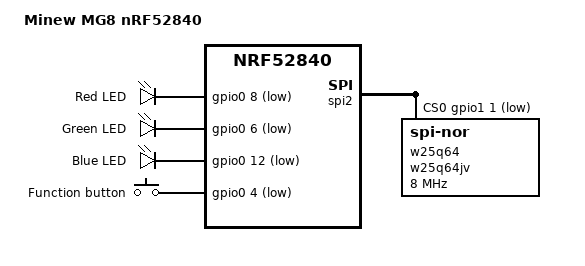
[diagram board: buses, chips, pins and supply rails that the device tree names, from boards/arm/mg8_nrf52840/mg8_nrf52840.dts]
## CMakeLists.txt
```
cmake_minimum_required(VERSION 3.20.0)

# The MG8 board definition lives in boards/arm/mg8_nrf52840
list(APPEND BOARD_ROOT ${CMAKE_CURRENT_SOURCE_DIR})

find_package(Zephyr REQUIRED HINTS $ENV{ZEPHYR_BASE})
project(mg8_bringup)

target_sources(app PRIVATE src/main.c src/flash_test.c src/ble_test.c)
```

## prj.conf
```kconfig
# MG8 bring-up. Board basics (RTT console, no UART console, 32 kHz crystal) are in
# boards/arm/mg8_nrf52840. The board never enables the DC/DC converters; src/main.c refuses to
# build if they are on.

CONFIG_PRINTK=y
CONFIG_SEGGER_RTT_BUFFER_SIZE_UP=8192
# AT console input from the J-Link (RTT channel 0 down buffer)
CONFIG_SEGGER_RTT_BUFFER_SIZE_DOWN=256

# The MG8 nRF52840 (AAD0) uses legacy APPROTECT: the erased UICR value keeps debug open.
# SystemInit only reads UICR here, it never writes it.
CONFIG_NRF_APPROTECT_USE_UICR=y

# Modem pins and UART are driven directly with the nrf_gpio HAL and registers
CONFIG_REBOOT=y
CONFIG_MAIN_STACK_SIZE=4096

# BLE test: advertise as MG8-bringup and passively scan for nearby devices
CONFIG_BT=y
CONFIG_BT_BROADCASTER=y
CONFIG_BT_OBSERVER=y
CONFIG_BT_DEVICE_NAME="MG8-bringup"

# W25Q64JV external flash on SPIM2
CONFIG_SPI=y
CONFIG_FLASH=y
CONFIG_SPI_NOR=y
CONFIG_SPI_NOR_SFDP_RUNTIME=y
CONFIG_FLASH_JESD216_API=y

# flash_get_page_count() for the flash test
CONFIG_FLASH_PAGE_LAYOUT=y
```

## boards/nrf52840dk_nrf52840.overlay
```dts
/*
 * Minew MG8 on the nRF52840 DK board definition.
 * The DK peripherals sit on pins the MG8 uses for other things (P0.06/P0.08 are LEDs),
 * so every DK peripheral that would claim pins at boot is disabled.
 */

/ {
	chosen {
		/delete-property/ zephyr,console;
		/delete-property/ zephyr,shell-uart;
		/delete-property/ zephyr,uart-mcumgr;
		/delete-property/ zephyr,bt-mon-uart;
		/delete-property/ zephyr,bt-c2h-uart;
	};
};

&uicr {
	/delete-property/ gpio-as-nreset;
	nfct-pins-as-gpios;
};

&uart0 { status = "disabled"; };
&uart1 { status = "disabled"; };
&i2c0 { status = "disabled"; };
&spi1 { status = "disabled"; };
&spi3 { status = "disabled"; };
&pwm0 { status = "disabled"; };
&qspi { status = "disabled"; };
&adc { status = "disabled"; };
&usbd { status = "disabled"; };
&ieee802154 { status = "disabled"; };
```

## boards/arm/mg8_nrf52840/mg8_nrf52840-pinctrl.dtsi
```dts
/* Minew MG8 pin control */

&pinctrl {
	/* W25Q64JV external flash */
	spi2_default: spi2_default {
		group1 {
			psels = <NRF_PSEL(SPIM_SCK, 1, 4)>,
				<NRF_PSEL(SPIM_MISO, 1, 2)>,
				<NRF_PSEL(SPIM_MOSI, 1, 6)>;
		};
	};

	/*
	 * Modem main UART through the level shifter. RX gets a pull-up so it idles high while the
	 * modem is off (the shifter is disabled then and leaves the line floating).
	 */
	uart1_default: uart1_default {
		group1 {
			psels = <NRF_PSEL(UART_TX, 0, 14)>;
		};
		group2 {
			psels = <NRF_PSEL(UART_RX, 0, 21)>;
			bias-pull-up;
		};
	};

	uart1_sleep: uart1_sleep {
		group1 {
			psels = <NRF_PSEL(UART_TX, 0, 14)>,
				<NRF_PSEL(UART_RX, 0, 21)>;
			low-power-enable;
		};
	};

	spi2_sleep: spi2_sleep {
		group1 {
			psels = <NRF_PSEL(SPIM_SCK, 1, 4)>,
				<NRF_PSEL(SPIM_MISO, 1, 2)>,
				<NRF_PSEL(SPIM_MOSI, 1, 6)>;
			low-power-enable;
		};
	};
};
```

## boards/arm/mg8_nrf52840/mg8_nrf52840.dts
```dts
/*
 * Minew MG8 LTE gateway: nRF52840 (aQFN73) with a Quectel EG916Q-GL modem on a daughterboard.
 * Pin map and how each pin was confirmed: README.md.
 *
 * The modem control pins are driven directly by the applications: 3.8 V enable P1.09, PWRKEY P0.15,
 * RESET P0.13, W_DISABLE# P0.31. Its UART (P0.14 TX / P0.21 RX) is described as uart1 but left
 * disabled: the bring-up firmware drives it through registers, the hub app enables it.
 */

/dts-v1/;
#include <nordic/nrf52840_qiaa.dtsi>
#include "mg8_nrf52840-pinctrl.dtsi"
#include <zephyr/dt-bindings/input/input-event-codes.h>

/ {
	model = "Minew MG8 nRF52840";
	compatible = "minew,mg8-nrf52840";

	chosen {
		zephyr,sram = &sram0;
		zephyr,flash = &flash0;
		zephyr,code-partition = &slot0_partition;
	};

	/* One RGB LED, common anode to VDD */
	leds {
		compatible = "gpio-leds";
		led_red: led_0 {
			gpios = <&gpio0 8 GPIO_ACTIVE_LOW>;
			label = "Red LED";
		};
		led_green: led_1 {
			gpios = <&gpio0 6 GPIO_ACTIVE_LOW>;
			label = "Green LED";
		};
		led_blue: led_2 {
			gpios = <&gpio0 12 GPIO_ACTIVE_LOW>;
			label = "Blue LED";
		};
	};

	buttons {
		compatible = "gpio-keys";
		button0: button_0 {
			gpios = <&gpio0 4 (GPIO_PULL_UP | GPIO_ACTIVE_LOW)>;
			label = "Function button";
			zephyr,code = <INPUT_KEY_0>;
		};
	};

	aliases {
		led0 = &led_red;
		led1 = &led_green;
		led2 = &led_blue;
		sw0 = &button0;
		spi-flash0 = &w25q64;
	};
};

/* P0.09 / P0.10 are not used for NFC */
&uicr {
	nfct-pins-as-gpios;
};

&gpiote {
	status = "okay";
};

&gpio0 {
	status = "okay";
};

&gpio1 {
	status = "okay";
};

/* Quectel EG916Q-GL main UART, 115200 8N1, no flow control */
&uart1 {
	compatible = "nordic,nrf-uarte";
	current-speed = <115200>;
	pinctrl-0 = <&uart1_default>;
	pinctrl-1 = <&uart1_sleep>;
	pinctrl-names = "default", "sleep";
	status = "disabled";
};

&spi2 {
	compatible = "nordic,nrf-spim";
	status = "okay";
	pinctrl-0 = <&spi2_default>;
	pinctrl-1 = <&spi2_sleep>;
	pinctrl-names = "default", "sleep";
	cs-gpios = <&gpio1 1 GPIO_ACTIVE_LOW>;

	/* Size and layout are read from the chip's SFDP tables (CONFIG_SPI_NOR_SFDP_RUNTIME) */
	w25q64: w25q64jv@0 {
		compatible = "jedec,spi-nor";
		reg = <0>;
		spi-max-frequency = <8000000>;
	};
};

&flash0 {
	partitions {
		compatible = "fixed-partitions";
		#address-cells = <1>;
		#size-cells = <1>;

		boot_partition: partition@0 {
			label = "mcuboot";
			reg = <0x00000000 0x0000C000>;
		};
		slot0_partition: partition@c000 {
			label = "image-0";
			reg = <0x0000C000 0x00076000>;
		};
		slot1_partition: partition@82000 {
			label = "image-1";
			reg = <0x00082000 0x00076000>;
		};
		storage_partition: partition@f8000 {
			label = "storage";
			reg = <0x000f8000 0x00008000>;
		};
	};
};
```

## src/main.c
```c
/*
 * Minew MG8 bring-up: powers up the Quectel modem and queries it over the main UART.
 *
 * Pins (full map in README.md):
 *   LEDs (active low): red P0.08, green P0.06, blue P0.12
 *   Button (active low, needs pull-up): P0.04
 *   Modem 3.8 V buck enable: P1.09 (high = on)
 *   Modem PWRKEY: P0.15, drives an N-MOSFET that pulls PWRKEY low (high = key pressed)
 *   Modem RESET_N: P0.13, same arrangement (high = reset held). Keep low.
 *   Modem W_DISABLE#: P0.31, same arrangement (high = airplane mode). Keep low.
 *   UART through a level shifter whose OE follows the modem's VDD_EXT, so the lines only work
 *   while the modem is on: nRF TX P0.14 -> modem RXD, modem TXD -> nRF RX P0.21.
 *   DTR P0.16 and RTS P0.24 are modem inputs, held low (awake, ready to receive).
 *   P0.13 / P0.15 are also the T5 / T6 test pads.
 *
 * All output goes to SEGGER RTT (channel 0). After the start-up query the firmware becomes an AT
 * console: a line typed into RTT channel 0 (J-Link RTT Viewer, or telnet localhost 19021) is sent
 * to the modem, and everything the modem prints, including URCs, is copied back to RTT.
 * Lines starting with '!' are handled locally: !on, !off, !flash, !ble, !help.
 * Press the button to power-cycle and query again.
 *
 * A debugger can ask for a clean modem shutdown before it resets or reflashes the chip: write
 * SHUTDOWN_REQUEST to NRF_POWER->GPREGRET2 and wait for SHUTDOWN_DONE (tools/flash.ps1 does this).
 */

#include <string.h>
#include <zephyr/kernel.h>
#include <zephyr/sys/printk.h>
#include <SEGGER_RTT.h>
#include <hal/nrf_gpio.h>
#include <nrf.h>

#include "board_tests.h"

/* The MG8 has no DC/DC inductors: either converter browns the chip out in a loop */
#if defined(CONFIG_SOC_DCDC_NRF52X) || defined(CONFIG_SOC_DCDC_NRF52X_HV)
#error "DC/DC must stay off on the MG8 (build for board mg8_nrf52840)"
#endif

#define PIN(port, n) NRF_GPIO_PIN_MAP(port, n)

#define LED_RED	  PIN(0, 8)
#define LED_GREEN PIN(0, 6)
#define LED_BLUE  PIN(0, 12)
#define BUTTON	  PIN(0, 4)

#define MODEM_PWR_EN	PIN(1, 9)
#define MODEM_PWRKEY	PIN(0, 15)
#define MODEM_RESET	PIN(0, 13)
#define MODEM_W_DISABLE PIN(0, 31)
#define MODEM_DTR	PIN(0, 16)
#define MODEM_RTS	PIN(0, 24)
#define UART_TX		PIN(0, 14)
#define UART_RX		PIN(0, 21)

#define SUPPLY_SETTLE_MS 100
#define PWRKEY_PULSE_MS	 1000
#define MODEM_BOOT_WAIT_S 20
#define AT_REPLY_WAIT_MS 300

/* Debugger mailbox in GPREGRET2 (8 bits, kept across resets, unused by Zephyr and NCS here) */
#define SHUTDOWN_REQUEST 0xA5
#define SHUTDOWN_DONE	 0x5A

static bool shutdown_requested(void)
{
	return NRF_POWER->GPREGRET2 == SHUTDOWN_REQUEST;
}

static uint8_t uart_tx_buf[32];
static uint8_t uart_rx_buf[512];
static char reply[512];

static bool uicr_write(volatile uint32_t *reg, uint32_t value)
{
	if (*reg == value) {
		return false;
	}
	NRF_NVMC->CONFIG = NVMC_CONFIG_WEN_Wen;
	while (!NRF_NVMC->READY) {
	}
	*reg = value;
	while (!NRF_NVMC->READY) {
	}
	NRF_NVMC->CONFIG = NVMC_CONFIG_WEN_Ren;
	while (!NRF_NVMC->READY) {
	}
	return true;
}

/**
 * The MG8 needs REGOUT0 at 3.0 V: the erased default of 1.8 V is too low for the LEDs and the
 * external flash. A chip erase clears it, so it is restored on every boot.
 *
 * UICR.APPROTECT is deliberately left alone. The MG8 nRF52840 (variant AAD0) uses the legacy
 * scheme where only the erased value 0xFF keeps the debug port open; any other value, including
 * the newer revisions' HwDisabled (0x5A), locks it.
 */
static void uicr_setup(void)
{
	bool changed = false;

	if ((NRF_UICR->REGOUT0 & UICR_REGOUT0_VOUT_Msk) !=
	    (UICR_REGOUT0_VOUT_3V0 << UICR_REGOUT0_VOUT_Pos)) {
		changed |= uicr_write(&NRF_UICR->REGOUT0,
				      (NRF_UICR->REGOUT0 & ~UICR_REGOUT0_VOUT_Msk) |
					      (UICR_REGOUT0_VOUT_3V0 << UICR_REGOUT0_VOUT_Pos));
	}
	if (changed) {
		NVIC_SystemReset();
	}
}

static void led_set(bool red, bool green, bool blue)
{
	nrf_gpio_pin_write(LED_RED, !red);
	nrf_gpio_pin_write(LED_GREEN, !green);
	nrf_gpio_pin_write(LED_BLUE, !blue);
}

static void output_low(uint32_t pin)
{
	nrf_gpio_pin_clear(pin);
	nrf_gpio_cfg_output(pin);
}

static void board_init(void)
{
	nrf_gpio_pin_set(LED_RED);
	nrf_gpio_pin_set(LED_GREEN);
	nrf_gpio_pin_set(LED_BLUE);
	nrf_gpio_cfg_output(LED_RED);
	nrf_gpio_cfg_output(LED_GREEN);
	nrf_gpio_cfg_output(LED_BLUE);
	nrf_gpio_cfg_input(BUTTON, NRF_GPIO_PIN_PULLUP);

	/* Modem off, PWRKEY released, not in reset, not in airplane mode */
	output_low(MODEM_PWR_EN);
	output_low(MODEM_PWRKEY);
	output_low(MODEM_RESET);
	output_low(MODEM_W_DISABLE);
	output_low(MODEM_DTR);
	output_low(MODEM_RTS);
	nrf_gpio_cfg_input(UART_RX, NRF_GPIO_PIN_NOPULL);
}

/**
 * Sends a command on UARTE1 and collects the reply for wait_ms.
 * The reply is copied into the global reply buffer with non-printable bytes replaced.
 */
static size_t uart_exchange(const char *cmd, int wait_ms)
{
	NRF_UARTE_Type *uarte = NRF_UARTE1;
	size_t len = MIN(strlen(cmd), sizeof(uart_tx_buf));

	/* The UARTE drives TX itself once enabled; setting the output level first avoids a start glitch */
	nrf_gpio_pin_set(UART_TX);
	nrf_gpio_cfg_output(UART_TX);

	uarte->ENABLE = UARTE_ENABLE_ENABLE_Disabled;
	uarte->PSEL.TXD = UART_TX;
	uarte->PSEL.RXD = UART_RX;
	uarte->PSEL.RTS = UINT32_MAX;
	uarte->PSEL.CTS = UINT32_MAX;
	uarte->BAUDRATE = UARTE_BAUDRATE_BAUDRATE_Baud115200;
	uarte->CONFIG = 0;
	uarte->ENABLE = UARTE_ENABLE_ENABLE_Enabled;

	memset(uart_rx_buf, 0, sizeof(uart_rx_buf));
	uarte->EVENTS_ENDRX = 0;
	uarte->EVENTS_RXTO = 0;
	uarte->EVENTS_ENDTX = 0;
	uarte->RXD.PTR = (uint32_t)uart_rx_buf;
	uarte->RXD.MAXCNT = sizeof(uart_rx_buf) - 1;
	uarte->TASKS_STARTRX = 1;

	memcpy(uart_tx_buf, cmd, len);
	uarte->TXD.PTR = (uint32_t)uart_tx_buf;
	uarte->TXD.MAXCNT = len;
	uarte->TASKS_STARTTX = 1;
	for (int i = 0; i < 200 && !uarte->EVENTS_ENDTX; i++) {
		k_busy_wait(100);
	}
	uarte->TASKS_STOPTX = 1;

	k_msleep(wait_ms);

	uarte->TASKS_STOPRX = 1;
	for (int i = 0; i < 200 && !uarte->EVENTS_RXTO; i++) {
		k_busy_wait(100);
	}
	size_t amount = uarte->RXD.AMOUNT;

	uarte->ENABLE = UARTE_ENABLE_ENABLE_Disabled;
	uarte->PSEL.TXD = UINT32_MAX;
	uarte->PSEL.RXD = UINT32_MAX;

	for (size_t i = 0; i < amount && i < sizeof(reply) - 1; i++) {
		char c = uart_rx_buf[i];

		reply[i] = (c == '\r' || c == '\n' || (c >= 0x20 && c < 0x7F)) ? c : '.';
	}
	reply[MIN(amount, sizeof(reply) - 1)] = '\0';
	return amount;
}

static bool at_ok(void)
{
	/* The first AT also lets an auto-bauding modem lock onto the baud rate */
	uart_exchange("AT\r", 100);
	uart_exchange("AT\r", AT_REPLY_WAIT_MS);
	return strstr(reply, "OK") != NULL;
}

static void modem_command(const char *cmd, int wait_ms)
{
	uart_exchange(cmd, wait_ms);
	printk(">> %s\n%s\n", cmd, reply);
}

static void modem_query(void)
{
	printk("\n--- Modem information ---\n");
	modem_command("ATE0\r", 300);
	/* Verbose errors, and registration reports that include the reject cause */
	modem_command("AT+CMEE=2\r", 300);
	modem_command("AT+CEREG=3\r", 300);
	modem_command("ATI\r", 500);
	modem_command("AT+CGMR\r", 500);
	modem_command("AT+IPR?\r", 300);
	modem_command("AT+QCCID\r", 500);
	modem_command("AT+CPIN?\r", 500);
	modem_command("AT+CSQ\r", 500);
	modem_command("AT+CEREG?\r", 500);
	modem_command("AT+COPS?\r", 1000);
}

/* Polls signal and LTE registration until the modem registers (home or roaming) or time runs out */
static void modem_wait_registered(int seconds)
{
	printk("\n--- Waiting up to %d s for network registration ---\n", seconds);
	for (int s = 0; s < seconds; s += 10) {
		uart_exchange("AT+CSQ\r", 300);
		printk("t+%3ds %s", s, strtok(reply, "\r\n") ?: "");
		uart_exchange("AT+CEREG?\r", 300);
		char *line = strtok(reply, "\r\n");

		printk("  %s\n", line ?: "");
		/* +CEREG: <n>,<stat>[,...]; stat 1 = home, 5 = roaming */
		char *stat = (line != NULL) ? strchr(line, ',') : NULL;

		if (stat != NULL && (stat[1] == '1' || stat[1] == '5') &&
		    (stat[2] == ',' || stat[2] == '\0')) {
			modem_command("AT+COPS?\r", 1000);
			modem_command("AT+QNWINFO\r", 500);
			modem_command("AT+QCSQ\r", 500);
			return;
		}
		for (int i = 0; i < 9; i++) {
			if (shutdown_requested()) {
				return;
			}
			k_msleep(1000);
		}
	}
	printk("Not registered after %d s\n", seconds);
	modem_command("AT+QNWINFO\r", 500);
	modem_command("AT+QCFG=\"band\"\r", 500);
}

/* Returns the seconds the modem took to answer AT, or -1 if it never did */
static int modem_wait_ready(int seconds)
{
	for (int s = 1; s <= seconds; s++) {
		if (at_ok()) {
			return s;
		}
		if (reply[0] != '\0') {
			printk("  t+%ds: %s\n", s, reply);
		}
		k_msleep(1000 - 100 - AT_REPLY_WAIT_MS);
	}
	return -1;
}

static void modem_power_off(void)
{
	/* Cutting the supply under a running modem can corrupt its file system, so shut it down first */
	if (nrf_gpio_pin_out_read(MODEM_PWR_EN) && at_ok()) {
		printk("Shutting the modem down (AT+QPOWD)\n");
		modem_command("AT+QPOWD=1\r", 5000);
	}
	nrf_gpio_pin_clear(MODEM_PWRKEY);
	nrf_gpio_pin_clear(MODEM_PWR_EN);
}

static bool modem_power_on(void)
{
	printk("\n=== Modem power-up ===\n");
	led_set(false, false, true);

	modem_power_off();
	k_msleep(1000);

	printk("3.8 V enable (P1.09) on\n");
	nrf_gpio_pin_set(MODEM_PWR_EN);
	k_msleep(SUPPLY_SETTLE_MS);

	printk("PWRKEY (P0.15) pressed for %d ms\n", PWRKEY_PULSE_MS);
	nrf_gpio_pin_set(MODEM_PWRKEY);
	k_msleep(PWRKEY_PULSE_MS);
	nrf_gpio_pin_clear(MODEM_PWRKEY);

	printk("Waiting up to %d s for AT on P0.14/P0.21 at 115200\n", MODEM_BOOT_WAIT_S);
	int s = modem_wait_ready(MODEM_BOOT_WAIT_S);

	if (s < 0) {
		led_set(true, false, false);
		printk("No answer from the modem. Press the button to try again.\n");
		return false;
	}
	printk("Modem answered after %d s\n", s);
	led_set(false, true, false);
	return true;
}

/*
 * The console uses the legacy UART0 (no EasyDMA) so every received byte can be picked up as it
 * arrives. Its RX FIFO holds 6 bytes (~0.5 ms at 115200), so the main loop polls every ~0.1 ms.
 * UARTE1 (uart_exchange) uses the same pins, so the console is stopped while it runs.
 */
static void console_start(void)
{
	nrf_gpio_pin_set(UART_TX);
	nrf_gpio_cfg_output(UART_TX);
	nrf_gpio_cfg_input(UART_RX, NRF_GPIO_PIN_NOPULL);

	NRF_UART0->ENABLE = UART_ENABLE_ENABLE_Disabled;
	NRF_UART0->PSEL.TXD = UART_TX;
	NRF_UART0->PSEL.RXD = UART_RX;
	NRF_UART0->PSEL.RTS = UINT32_MAX;
	NRF_UART0->PSEL.CTS = UINT32_MAX;
	NRF_UART0->BAUDRATE = UART_BAUDRATE_BAUDRATE_Baud115200;
	NRF_UART0->CONFIG = 0;
	NRF_UART0->ENABLE = UART_ENABLE_ENABLE_Enabled;
	NRF_UART0->EVENTS_RXDRDY = 0;
	NRF_UART0->EVENTS_TXDRDY = 0;
	NRF_UART0->TASKS_STARTRX = 1;
	NRF_UART0->TASKS_STARTTX = 1;
}

static void console_stop(void)
{
	NRF_UART0->TASKS_STOPRX = 1;
	NRF_UART0->TASKS_STOPTX = 1;
	NRF_UART0->ENABLE = UART_ENABLE_ENABLE_Disabled;
	NRF_UART0->PSEL.TXD = UINT32_MAX;
	NRF_UART0->PSEL.RXD = UINT32_MAX;
}

static char modem_line[256];
static size_t modem_line_len;

static void console_flush(void)
{
	if (modem_line_len > 0) {
		SEGGER_RTT_Write(0, modem_line, modem_line_len);
		modem_line_len = 0;
	}
}

/* Copies modem output to RTT, a line at a time so RTT writes stay cheap */
static void console_receive(void)
{
	if (NRF_UART0->ERRORSRC) {
		NRF_UART0->ERRORSRC = NRF_UART0->ERRORSRC;
		console_flush();
		printk("[uart error]\n");
	}
	while (NRF_UART0->EVENTS_RXDRDY) {
		NRF_UART0->EVENTS_RXDRDY = 0;
		char c = NRF_UART0->RXD;

		if (c == '\r') {
			continue;
		}
		modem_line[modem_line_len++] = c;
		if (c == '\n' || modem_line_len == sizeof(modem_line)) {
			console_flush();
		}
	}
}

static void console_send(const char *line, size_t len)
{
	console_flush();
	printk("> %.*s\n", (int)len, line);
	for (size_t i = 0; i <= len; i++) {
		NRF_UART0->EVENTS_TXDRDY = 0;
		NRF_UART0->TXD = (i < len) ? line[i] : '\r';
		while (!NRF_UART0->EVENTS_TXDRDY) {
			console_receive();
		}
	}
}

static void modem_restart(void)
{
	if (modem_power_on()) {
		modem_query();
		modem_wait_registered(120);
	}
}

/* Shuts the modem down cleanly and tells the debugger it may reset the chip */
static void modem_shutdown(void)
{
	led_set(false, false, false);
	modem_power_off();
	printk("Modem off\n");
}

static void handle_local_command(const char *line)
{
	if (strcmp(line, "!on") == 0) {
		modem_restart();
	} else if (strcmp(line, "!off") == 0) {
		modem_shutdown();
	} else if (strcmp(line, "!flash") == 0) {
		flash_test_write();
	} else if (strcmp(line, "!ble") == 0) {
		ble_test_report();
	} else {
		printk("Local commands: !on (power-cycle modem), !off (clean modem shutdown), "
		       "!flash (flash write test), !ble (BLE scan summary)\n");
	}
}

static void console_run(void)
{
	static char line[128];
	size_t len = 0;
	uint32_t idle = 0;

	printk("\n--- AT console: type a command into RTT channel 0 (!help for local commands) ---\n");
	console_start();
	for (;;) {
		console_receive();

		char in[16];
		unsigned int n = SEGGER_RTT_Read(0, in, sizeof(in));

		for (unsigned int i = 0; i < n; i++) {
			if (in[i] == '\r' || in[i] == '\n') {
				if (len > 0 && line[0] == '!') {
					line[len] = '\0';
					printk("> %s\n", line);
					console_stop();
					handle_local_command(line);
					console_start();
				} else if (len > 0) {
					console_send(line, len);
				}
				len = 0;
			} else if (len < sizeof(line) - 1) {
				line[len++] = in[i];
			}
		}

		/* A reply without a trailing newline still shows up after ~50 ms of quiet */
		if (modem_line_len > 0 && ++idle > 400) {
			console_flush();
		}
		if (modem_line_len == 0) {
			idle = 0;
		}

		if (shutdown_requested()) {
			printk("\nDebugger asked for a modem shutdown\n");
			console_stop();
			modem_shutdown();
			NRF_POWER->GPREGRET2 = SHUTDOWN_DONE;
			console_start();
		}

		if (!nrf_gpio_pin_read(BUTTON)) {
			console_stop();
			k_msleep(50);
			while (!nrf_gpio_pin_read(BUTTON)) {
				k_msleep(10);
			}
			modem_restart();
			printk("\n--- AT console ---\n");
			console_start();
		}

		/* Short enough for the 6-byte RX FIFO (~0.5 ms at 115200), and lets the BLE threads run */
		k_usleep(100);
	}
}

int main(void)
{
	uicr_setup();
	board_init();

	uint32_t reset_reason = NRF_POWER->RESETREAS;

	NRF_POWER->RESETREAS = reset_reason;
	NRF_POWER->GPREGRET2 = 0;

	/* Gives the RTT host time to attach before the first output */
	led_set(false, false, true);
	k_msleep(3000);

	printk("\n*** MG8 bring-up (%s %s) ***\n", __DATE__, __TIME__);
	printk("RESETREAS 0x%08x, UICR REGOUT0 0x%08x, APPROTECT 0x%08x, DCDCEN %u/%u\n",
	       reset_reason, NRF_UICR->REGOUT0, NRF_UICR->APPROTECT, NRF_POWER->DCDCEN,
	       NRF_POWER->DCDCEN0);
	/* LFCLKSTAT: bit 16 = running, bits 1:0 = source (0 RC, 1 crystal, 2 synthesized) */
	printk("LFCLKSTAT 0x%08x\n", NRF_CLOCK->LFCLKSTAT);

	flash_test_info();
	ble_test_start();

	if (modem_power_on()) {
		modem_query();
		modem_wait_registered(120);
	}

	console_run();
	return 0;
}
```

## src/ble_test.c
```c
/*
 * BLE radio check: advertises (non-connectable) as CONFIG_BT_DEVICE_NAME so a phone scanner can
 * see the MG8, and passively scans so we can see that the receiver works. Every 30 s it prints how
 * many devices were heard and flags any Exactcomms C10 tag.
 */

#include <string.h>
#include <zephyr/kernel.h>
#include <zephyr/sys/printk.h>
#include <zephyr/bluetooth/bluetooth.h>
#include <zephyr/bluetooth/hci.h>

#include "board_tests.h"

#define MAX_DEVICES	64
#define REPORT_INTERVAL K_SECONDS(30)
#define C10_NAME	"exactcomms_c10"

struct seen_device {
	bt_addr_le_t addr;
	int8_t rssi;
	char name[24];
};

static struct seen_device devices[MAX_DEVICES];
static size_t device_count;
static uint32_t adv_reports;
static bool table_full;

static const struct bt_data ad[] = {
	BT_DATA_BYTES(BT_DATA_FLAGS, BT_LE_AD_NO_BREDR),
	BT_DATA(BT_DATA_NAME_COMPLETE, CONFIG_BT_DEVICE_NAME, sizeof(CONFIG_BT_DEVICE_NAME) - 1),
};

static bool find_name(struct bt_data *data, void *user_data)
{
	char *name = user_data;

	if (data->type == BT_DATA_NAME_COMPLETE || data->type == BT_DATA_NAME_SHORTENED) {
		size_t len = MIN(data->data_len, sizeof(devices[0].name) - 1);

		memcpy(name, data->data, len);
		name[len] = '\0';
		return false;
	}
	return true;
}

static struct seen_device *lookup(const bt_addr_le_t *addr)
{
	for (size_t i = 0; i < device_count; i++) {
		if (bt_addr_le_eq(&devices[i].addr, addr)) {
			return &devices[i];
		}
	}
	if (device_count == MAX_DEVICES) {
		table_full = true;
		return NULL;
	}
	struct seen_device *dev = &devices[device_count++];

	bt_addr_le_copy(&dev->addr, addr);
	dev->rssi = INT8_MIN;
	dev->name[0] = '\0';
	return dev;
}

static void scan_cb(const bt_addr_le_t *addr, int8_t rssi, uint8_t adv_type,
		    struct net_buf_simple *buf)
{
	struct seen_device *dev = lookup(addr);

	adv_reports++;
	if (dev == NULL) {
		return;
	}
	dev->rssi = MAX(dev->rssi, rssi);
	if (dev->name[0] == '\0') {
		bt_data_parse(buf, find_name, dev->name);
		if (strstr(dev->name, C10_NAME) != NULL) {
			char addr_str[BT_ADDR_LE_STR_LEN];

			bt_addr_le_to_str(addr, addr_str, sizeof(addr_str));
			printk("[ble] C10 tag found: %s %s RSSI %d\n", dev->name, addr_str, rssi);
		}
	}
}

void ble_test_report(void)
{
	const struct seen_device *best = NULL;
	size_t named = 0;

	for (size_t i = 0; i < device_count; i++) {
		if (best == NULL || devices[i].rssi > best->rssi) {
			best = &devices[i];
		}
		named += devices[i].name[0] != '\0';
	}
	printk("[ble] %u advertising reports from %u%s devices (%u named)", adv_reports,
	       device_count, table_full ? "+" : "", named);
	if (best != NULL) {
		char addr_str[BT_ADDR_LE_STR_LEN];

		bt_addr_le_to_str(&best->addr, addr_str, sizeof(addr_str));
		printk(", strongest %s %s RSSI %d", addr_str, best->name, best->rssi);
	}
	printk("\n");
}

static void report_handler(struct k_work *work)
{
	ble_test_report();
	k_work_reschedule(k_work_delayable_from_work(work), REPORT_INTERVAL);
}

static K_WORK_DELAYABLE_DEFINE(report_work, report_handler);

void ble_test_start(void)
{
	printk("\n--- BLE ---\n");

	int err = bt_enable(NULL);

	if (err) {
		printk("bt_enable failed: %d\n", err);
		return;
	}

	bt_addr_le_t addr;
	size_t count = 1;

	bt_id_get(&addr, &count);
	if (count > 0) {
		char addr_str[BT_ADDR_LE_STR_LEN];

		bt_addr_le_to_str(&addr, addr_str, sizeof(addr_str));
		printk("BLE address %s\n", addr_str);
	}

	err = bt_le_adv_start(BT_LE_ADV_NCONN_IDENTITY, ad, ARRAY_SIZE(ad), NULL, 0);
	printk("Advertising as \"%s\": %d\n", CONFIG_BT_DEVICE_NAME, err);

	err = bt_le_scan_start(BT_LE_SCAN_PASSIVE, scan_cb);
	printk("Passive scan: %d (summary every 30 s, or type !ble)\n", err);

	k_work_reschedule(&report_work, REPORT_INTERVAL);
}
```

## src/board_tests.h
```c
/* MG8 bring-up checks for the parts other than the modem: W25Q64 flash and BLE */

#pragma once

/* Prints the flash JEDEC ID, size and first bytes. Read-only. */
void flash_test_info(void);

/* Erases the last 4 KB sector, writes a pattern, reads it back and compares. */
void flash_test_write(void);

/* Starts BLE advertising as CONFIG_BT_DEVICE_NAME and a passive scan, reporting every 30 s */
void ble_test_start(void);

/* Prints what the scan has seen so far */
void ble_test_report(void);
```

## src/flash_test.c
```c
/*
 * W25Q64JV external flash check over SPIM2 (CS P1.01, CLK P1.04, DO P1.02, DIO P1.06).
 * The spi-nor driver reads size and erase types from the chip's SFDP tables, so a driver that
 * comes up ready already proves the SPI wiring.
 */

#include <string.h>
#include <zephyr/kernel.h>
#include <zephyr/device.h>
#include <zephyr/drivers/flash.h>
#include <zephyr/sys/printk.h>

#include "board_tests.h"

#define SECTOR_SIZE 4096
#define PATTERN_LEN 256

static const struct device *const flash = DEVICE_DT_GET(DT_ALIAS(spi_flash0));

static uint8_t buf[PATTERN_LEN];

static size_t flash_size(void)
{
	struct flash_pages_info info;
	size_t pages = flash_get_page_count(flash);

	if (pages == 0 || flash_get_page_info_by_idx(flash, 0, &info) != 0) {
		return 0;
	}
	return pages * info.size;
}

static void print_hex(const uint8_t *data, size_t len)
{
	for (size_t i = 0; i < len; i++) {
		printk("%02x ", data[i]);
	}
	printk("\n");
}

void flash_test_info(void)
{
	printk("\n--- External flash ---\n");
	if (!device_is_ready(flash)) {
		printk("Flash not ready: the spi-nor driver could not read a valid JEDEC ID / SFDP\n");
		return;
	}

	uint8_t id[3];

	if (flash_read_jedec_id(flash, id) == 0) {
		/* W25Q64JV is ef 40 17 (Winbond, 64 Mbit) */
		printk("JEDEC ID %02x %02x %02x\n", id[0], id[1], id[2]);
	}
	printk("Size %u bytes\n", flash_size());

	if (flash_read(flash, 0, buf, 16) == 0) {
		printk("First 16 bytes: ");
		print_hex(buf, 16);
	}
}

void flash_test_write(void)
{
	size_t size = flash_size();

	if (!device_is_ready(flash) || size < SECTOR_SIZE) {
		printk("Flash not ready, skipping the write test\n");
		return;
	}

	off_t offset = size - SECTOR_SIZE;
	uint32_t seed = k_cycle_get_32();

	printk("\n--- Flash write test, sector 0x%06lx ---\n", (long)offset);

	int64_t t = k_uptime_get();
	int err = flash_erase(flash, offset, SECTOR_SIZE);

	printk("Erase: %d (%lld ms)\n", err, k_uptime_get() - t);
	if (err) {
		return;
	}

	flash_read(flash, offset, buf, PATTERN_LEN);
	for (size_t i = 0; i < PATTERN_LEN; i++) {
		if (buf[i] != 0xFF) {
			printk("Not blank after erase at +%u: %02x\n", i, buf[i]);
			return;
		}
	}

	for (size_t i = 0; i < PATTERN_LEN; i++) {
		buf[i] = (uint8_t)(seed >> ((i % 4) * 8)) ^ (uint8_t)i;
	}
	t = k_uptime_get();
	err = flash_write(flash, offset, buf, PATTERN_LEN);
	printk("Write %u bytes: %d (%lld ms)\n", PATTERN_LEN, err, k_uptime_get() - t);
	if (err) {
		return;
	}

	static uint8_t check[PATTERN_LEN];

	flash_read(flash, offset, check, PATTERN_LEN);
	if (memcmp(buf, check, PATTERN_LEN) == 0) {
		printk("Read back matches: flash write OK\n");
	} else {
		printk("Read back MISMATCH. Wrote: ");
		print_hex(buf, 16);
		printk("Read:  ");
		print_hex(check, 16);
	}
}
```
